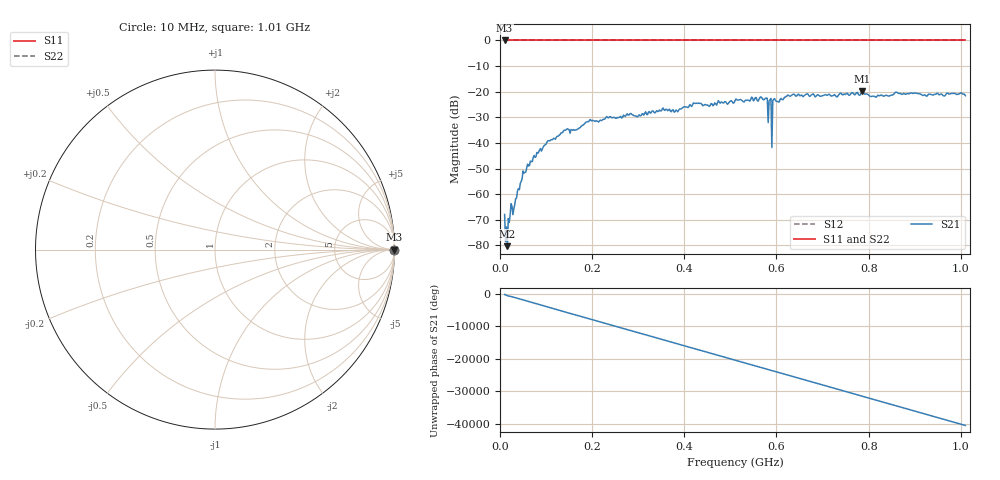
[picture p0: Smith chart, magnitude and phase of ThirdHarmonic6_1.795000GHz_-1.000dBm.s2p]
! 8/16/2025 9:43:24 PM
! C:\ANRITSUVNA\TEMP\TEMP.S2P
! CHANNEL.1
! TR.MEASUREMENT
! RAW.DATA
! RF.CORRECTION.OFF
! AVERAGING.OFF
! IF.BANDWIDTH: 5KHZ
! SWEEPTYPE:  FREQ.SWEEP(Linear)
! Reference Plane Port Info
! PORT:  PORT1  PORT2
! DISTANCE:  0  m  0  m
! TIME:  0  s  0  s
! PHASE.OFFSET:  0  deg.  0  deg.
! LOSS:  0  dB  0  dB
! REF.LOSS:  0  dB  0  dB
! REF.FREQ:  0  Hz  0  Hz
! Power Info
! POWER:  -20  dBm  -20  dBm
! EFF.POWER:  -20  dBm  -20  dBm
! SOURCE.ATTEN:  0  dB  0  dB
! TEST.ATTEN:  0  dB  0  dB
# GHZ S RI R 50.0
! FREQ.GHZ  S11RE  S11IM  S21RE  S21IM  S12RE  S12IM  S22RE  S22IM
!; PortSelection: Port_12
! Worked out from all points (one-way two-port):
!   501 points, 10 MHz to 1.01 GHz, reference 50 ohm
!   highest |S21| = -19.76 dB at 786 MHz (marker M1); lowest = -80.3 dB at 16 MHz (marker M2)
!   lowest |S11| = 0.0 dB at 10 MHz (marker M3)
!   |S11| at or under -10 dB: nowhere
!   |S22| runs from 0.0 to 0.0 dB; largest |S21 - S12| = 1.1
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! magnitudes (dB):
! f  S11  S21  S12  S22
! 10 MHz  0.0  -67.9  0.0  0.0
! 12 MHz  0.0  -78.4  0.0  0.0
! 16 MHz  0.0  -80.3  0.0  0.0
! 22 MHz  0.0  -68.1  0.0  0.0
! 32 MHz  0.0  -64.1  0.0  0.0
! 48 MHz  0.0  -53.9  0.0  0.0
! 70 MHz  0.0  -47.3  0.0  0.0
! 106 MHz  0.0  -39.1  0.0  0.0
! 142 MHz  0.0  -35.1  0.0  0.0
! 178 MHz  0.0  -33.2  0.0  0.0
! 198 MHz  0.0  -31.4  0.0  0.0
! 344 MHz  0.0  -27.7  0.0  0.0
! 510 MHz  0.0  -23.5  0.0  0.0
! 576 MHz  0.0  -22.6  0.0  0.0
! 584 MHz  0.0  -23.6  0.0  0.0
! 586 MHz  0.0  -23.2  0.0  0.0
! 594 MHz  0.0  -23.0  0.0  0.0
! 596 MHz  0.0  -22.7  0.0  0.0
! 678 MHz  0.0  -21.0  0.0  0.0
! 786 MHz  0.0  -19.8  0.0  0.0
! 844 MHz  0.0  -21.8  0.0  0.0
! 1.01 GHz  0.0  -21.6  0.0  0.0
